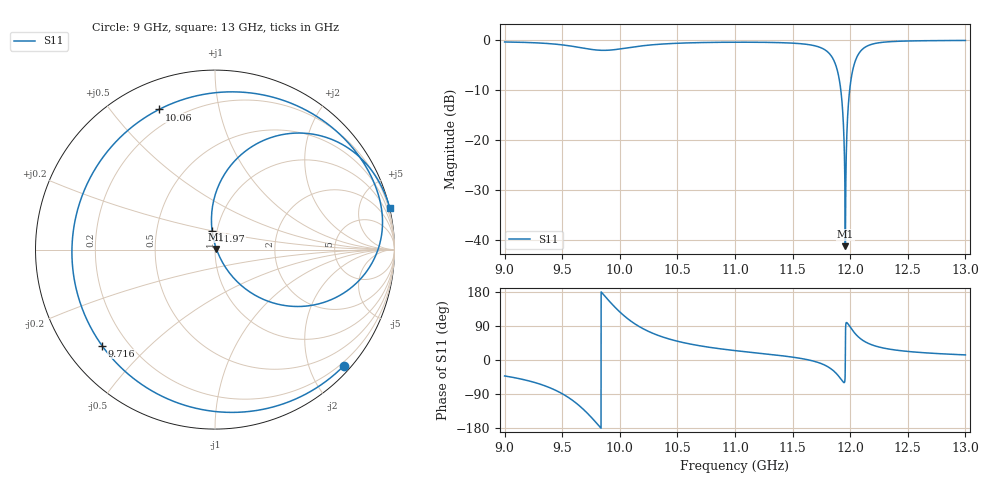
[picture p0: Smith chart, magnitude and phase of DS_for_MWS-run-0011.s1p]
! TOUCHSTONE file generated by CST DESIGN STUDIO
! Date and time: Tue Feb  4 17:52:03 2025
! Project name: C:\Work\MatlabApps\UnitCellOptimizationMatlab\CST\unitcell.cst
! Tree item: Tasks\Sweep1\SPara1\S-Parameters
! Header version: 2024
! Port assignment regex: !\s*Touchstone port\s*([0-9]+)\s*=\s*(CST MWS port|CST DES external port|CST DES block port)\s*(.+)\s* \(\"(.*)\"\)(\s*mode\s*([0-9]+))?.*
! Touchstone port assignment:
! Touchstone port 1 = CST DES external port 1 ("")
# GHz S MA R 50
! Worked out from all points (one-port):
!   4001 points, 9 GHz to 13 GHz, reference 50 ohm
!   lowest |S11| = -41.3 dB at 11.96 GHz (marker M1), VSWR 1.02, Z = 50.8 + j0.403 ohm
!   |S11| at or under -10 dB: 11.92 GHz to 12 GHz (76.47 MHz wide, 0.64 % of centre)
!   S11 on the Smith chart (normalised r, x): 9 GHz: 0.13, -2.59; 9.716 GHz: 0.11, -0.36; 10.06 GHz: 0.13, +0.67; 11.97 GHz: 0.95, +0.20; 13 GHz: -0.03, +8.48
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9  0.9666 -42.1
9.279  0.9468 -61.0
9.5  0.9038 -89.0
9.615  0.8649 -112.3
9.716  0.8261 -139.7
9.788  0.8045 -163.0
9.853  0.7963 174.4
10  0.822 126.8
10.057  0.8409 111.7
10.151  0.8716 91.5
10.269  0.9025 72.7
10.5  0.9382 49.6
11  0.961 24.8
11.5  0.9407 7.6
11.734  0.8564 -7.8
11.857  0.6346 -29.0
11.914  0.3485 -48.1
11.93  0.2323 -54.6
11.945  0.111 -59.5
11.958  0.008606 27.5
11.97  0.1065 98.8
11.985  0.2345 93.6
12  0.3536 87.0
12.028  0.5391 75.3
12.068  0.7173 61.8
12.184  0.9141 40.5
12.5  0.9885 22.6
13  1.001 13.5
